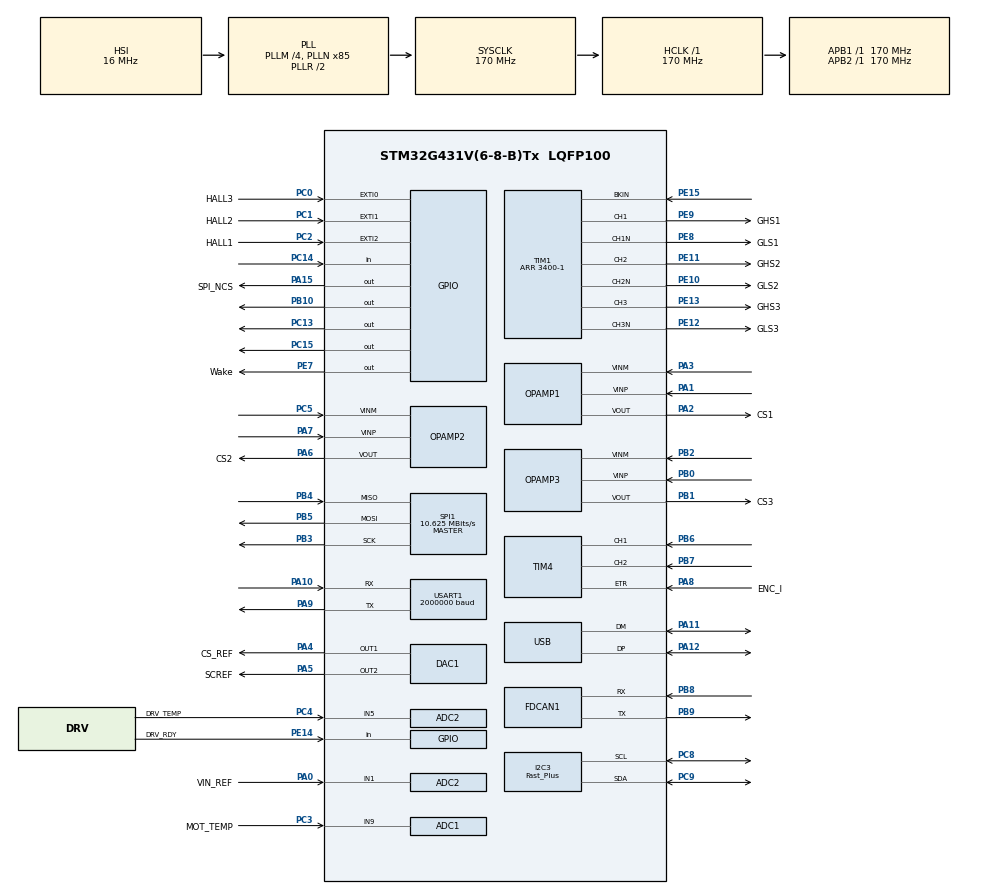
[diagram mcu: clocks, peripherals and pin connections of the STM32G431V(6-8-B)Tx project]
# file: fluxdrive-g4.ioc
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ADC1.Channel-0\#ChannelRegularConversion=ADC_CHANNEL_3
ADC1.EnableInjectedConversion=ENABLE
ADC1.ExternalTrigInjecConv=ADC_EXTERNALTRIGINJEC_T1_CC4
ADC1.ExternalTrigInjecConvEdge=ADC_EXTERNALTRIGINJECCONV_EDGE_FALLING
ADC1.InjNumberOfConversion=2
ADC1.InjectedChannel-1\#ChannelInjectedConversion=ADC_CHANNEL_3
ADC1.InjectedChannel-2\#ChannelInjectedConversion=ADC_CHANNEL_12
ADC1.InjectedOffsetNumber-1\#ChannelInjectedConversion=ADC_OFFSET_NONE
ADC1.InjectedOffsetNumber-2\#ChannelInjectedConversion=ADC_OFFSET_NONE
ADC1.InjectedRank-1\#ChannelInjectedConversion=1
ADC1.InjectedRank-2\#ChannelInjectedConversion=2
ADC1.InjectedSamplingTime-1\#ChannelInjectedConversion=ADC_SAMPLETIME_12CYCLES_5
ADC1.InjectedSamplingTime-2\#ChannelInjectedConversion=ADC_SAMPLETIME_12CYCLES_5
ADC1.NbrOfConversionFlag=1
ADC1.OffsetNumber-0\#ChannelRegularConversion=ADC_OFFSET_NONE
ADC1.Overrun=ADC_OVR_DATA_OVERWRITTEN
ADC1.Rank-0\#ChannelRegularConversion=1
ADC1.Rank1_Channel=ADC_CHANNEL_3
ADC1.Rank2_Channel=ADC_CHANNEL_12
ADC1.SamplingTime-0\#ChannelRegularConversion=ADC_SAMPLETIME_2CYCLES_5
ADC1.master=1
ADC2.Channel-0\#ChannelRegularConversion=ADC_CHANNEL_5
ADC2.EnableInjectedConversion=ENABLE
ADC2.ExternalTrigInjecConv=ADC_EXTERNALTRIGINJEC_T1_CC4
ADC2.ExternalTrigInjecConvEdge=ADC_EXTERNALTRIGINJECCONV_EDGE_FALLING
ADC2.InjNumberOfConversion=2
ADC2.InjectedChannel-1\#ChannelInjectedConversion=ADC_CHANNEL_3
ADC2.InjectedChannel-2\#ChannelInjectedConversion=ADC_CHANNEL_1
ADC2.InjectedOffsetNumber-1\#ChannelInjectedConversion=ADC_OFFSET_NONE
ADC2.InjectedOffsetNumber-2\#ChannelInjectedConversion=ADC_OFFSET_NONE
ADC2.InjectedRank-1\#ChannelInjectedConversion=1
ADC2.InjectedRank-2\#ChannelInjectedConversion=2
ADC2.InjectedSamplingTime-1\#ChannelInjectedConversion=ADC_SAMPLETIME_12CYCLES_5
ADC2.InjectedSamplingTime-2\#ChannelInjectedConversion=ADC_SAMPLETIME_12CYCLES_5
ADC2.NbrOfConversionFlag=1
ADC2.OffsetNumber-0\#ChannelRegularConversion=ADC_OFFSET_NONE
ADC2.Overrun=ADC_OVR_DATA_OVERWRITTEN
ADC2.Rank-0\#ChannelRegularConversion=1
ADC2.Rank2_Channel=ADC_CHANNEL_1
ADC2.SamplingTime-0\#ChannelRegularConversion=ADC_SAMPLETIME_2CYCLES_5
DAC1.DAC_Channel-DAC_OUT2=DAC_CHANNEL_2
DAC1.DAC_HighFrequency_OUT1-DAC_OUT1=DAC_HIGH_FREQUENCY_INTERFACE_MODE_DISABLE
DAC1.DAC_HighFrequency_OUT2-DAC_OUT2=DAC_HIGH_FREQUENCY_INTERFACE_MODE_DISABLE
Dma.Request0=SPI1_RX
Dma.Request1=SPI1_TX
Dma.Request2=USART1_TX
Dma.SPI1_RX.0.Direction=DMA_PERIPH_TO_MEMORY
Dma.SPI1_RX.0.EventEnable=DISABLE
Dma.SPI1_RX.0.Instance=DMA1_Channel1
Dma.SPI1_RX.0.MemDataAlignment=DMA_MDATAALIGN_BYTE
Dma.SPI1_RX.0.MemInc=DMA_MINC_ENABLE
Dma.SPI1_RX.0.Mode=DMA_NORMAL
Dma.SPI1_RX.0.PeriphDataAlignment=DMA_PDATAALIGN_BYTE
Dma.SPI1_RX.0.PeriphInc=DMA_PINC_DISABLE
Dma.SPI1_RX.0.Polarity=HAL_DMAMUX_REQ_GEN_RISING
Dma.SPI1_RX.0.Priority=DMA_PRIORITY_LOW
Dma.SPI1_RX.0.RequestNumber=1
Dma.SPI1_RX.0.SignalID=NONE
Dma.SPI1_RX.0.SyncEnable=DISABLE
Dma.SPI1_RX.0.SyncPolarity=HAL_DMAMUX_SYNC_NO_EVENT
Dma.SPI1_RX.0.SyncRequestNumber=1
Dma.SPI1_RX.0.SyncSignalID=NONE
Dma.SPI1_TX.1.Direction=DMA_MEMORY_TO_PERIPH
Dma.SPI1_TX.1.EventEnable=DISABLE
Dma.SPI1_TX.1.Instance=DMA1_Channel2
Dma.SPI1_TX.1.MemDataAlignment=DMA_MDATAALIGN_BYTE
Dma.SPI1_TX.1.MemInc=DMA_MINC_ENABLE
Dma.SPI1_TX.1.Mode=DMA_NORMAL
Dma.SPI1_TX.1.PeriphDataAlignment=DMA_PDATAALIGN_BYTE
Dma.SPI1_TX.1.PeriphInc=DMA_PINC_DISABLE
Dma.SPI1_TX.1.Polarity=HAL_DMAMUX_REQ_GEN_RISING
Dma.SPI1_TX.1.Priority=DMA_PRIORITY_LOW
Dma.SPI1_TX.1.RequestNumber=1
Dma.SPI1_TX.1.SignalID=NONE
Dma.SPI1_TX.1.SyncEnable=DISABLE
Dma.SPI1_TX.1.SyncPolarity=HAL_DMAMUX_SYNC_NO_EVENT
Dma.SPI1_TX.1.SyncRequestNumber=1
Dma.SPI1_TX.1.SyncSignalID=NONE
Dma.USART1_TX.2.Direction=DMA_MEMORY_TO_PERIPH
Dma.USART1_TX.2.EventEnable=DISABLE
Dma.USART1_TX.2.Instance=DMA1_Channel3
Dma.USART1_TX.2.MemDataAlignment=DMA_MDATAALIGN_BYTE
Dma.USART1_TX.2.MemInc=DMA_MINC_ENABLE
Dma.USART1_TX.2.Mode=DMA_NORMAL
Dma.USART1_TX.2.PeriphDataAlignment=DMA_PDATAALIGN_BYTE
Dma.USART1_TX.2.PeriphInc=DMA_PINC_DISABLE
Dma.USART1_TX.2.Polarity=HAL_DMAMUX_REQ_GEN_RISING
Dma.USART1_TX.2.Priority=DMA_PRIORITY_LOW
Dma.USART1_TX.2.RequestNumber=1
Dma.USART1_TX.2.SignalID=NONE
Dma.USART1_TX.2.SyncEnable=DISABLE
Dma.USART1_TX.2.SyncPolarity=HAL_DMAMUX_SYNC_NO_EVENT
Dma.USART1_TX.2.SyncRequestNumber=1
Dma.USART1_TX.2.SyncSignalID=NONE
FDCAN1.AutoRetransmission=ENABLE
FDCAN1.CalculateBaudRateNominal=1000000
FDCAN1.CalculateTimeBitNominal=1000
FDCAN1.CalculateTimeQuantumNominal=58.8235294117647
FDCAN1.NominalPrescaler=10
FDCAN1.NominalSyncJumpWidth=3
FDCAN1.NominalTimeSeg1=13
FDCAN1.NominalTimeSeg2=3
I2C3.I2C_Speed_Mode=I2C_Fast_Plus
I2C3.Timing=0x4052060F
Mcu.Family=STM32G4
Mcu.Name=STM32G431V(6-8-B)Tx
Mcu.Package=LQFP100
NVIC.ADC1_2_IRQn=true\:0\:0\:false\:false\:true\:true\:true\:true
NVIC.DMA1_Channel1_IRQn=true\:0\:0\:false\:false\:true\:false\:true\:true
NVIC.DMA1_Channel2_IRQn=true\:0\:0\:false\:false\:true\:false\:true\:true
NVIC.DMA1_Channel3_IRQn=true\:0\:0\:false\:false\:true\:false\:true\:true
NVIC.EXTI0_IRQn=true\:0\:0\:false\:false\:true\:true\:true\:true
NVIC.EXTI1_IRQn=true\:0\:0\:false\:false\:true\:true\:true\:true
NVIC.EXTI2_IRQn=true\:0\:0\:false\:false\:true\:true\:true\:true
NVIC.PriorityGroup=NVIC_PRIORITYGROUP_4
NVIC.SPI1_IRQn=true\:0\:0\:false\:false\:true\:true\:true\:true
NVIC.TIM1_BRK_TIM15_IRQn=true\:0\:0\:false\:false\:true\:true\:true\:true
NVIC.USART1_IRQn=true\:0\:0\:false\:false\:true\:true\:true\:true
NVIC.USB_LP_IRQn=true\:1\:0\:false\:false\:true\:false\:true\:true
PA0.GPIO_Label=VIN_REF
PA0.Mode=IN1-Single-Ended
PA0.Signal=ADC2_IN1
PA1.Mode=Standalone
PA1.Signal=OPAMP1_VINP
PA10.Mode=Asynchronous
PA10.Signal=USART1_RX
PA11.Mode=Device
PA11.Signal=USB_DM
PA12.Mode=Device
PA12.Signal=USB_DP
PA13.Mode=Serial_Wire
PA13.Signal=SYS_JTMS-SWDIO
PA14.Mode=Serial_Wire
PA14.Signal=SYS_JTCK-SWCLK
PA15.GPIO_Label=SPI_NCS
PA15.Signal=GPIO_Output
PA2.GPIO_Label=CS1
PA2.Signal=SharedAnalog_PA2
PA3.Mode=Standalone
PA3.Signal=OPAMP1_VINM
PA4.GPIO_Label=CS_REF
PA4.Signal=COMP_DAC11_group
PA5.GPIO_Label=SCREF
PA5.Signal=COMP_DAC12_group
PA6.GPIO_Label=CS2
PA6.Signal=SharedAnalog_PA6
PA7.Mode=Standalone
PA7.Signal=OPAMP2_VINP
PA8.GPIO_Label=ENC_I
PA8.Signal=S_TIM4_ETR
PA9.Mode=Asynchronous
PA9.Signal=USART1_TX
PB0.Mode=Standalone
PB0.Signal=OPAMP3_VINP
PB1.GPIO_Label=CS3
PB1.Signal=SharedAnalog_PB1
PB10.Signal=GPIO_Output
PB2.Mode=Standalone
PB2.Signal=OPAMP3_VINM
PB3.Mode=Full_Duplex_Master
PB3.Signal=SPI1_SCK
PB4.Mode=Full_Duplex_Master
PB4.Signal=SPI1_MISO
PB5.Mode=Full_Duplex_Master
PB5.Signal=SPI1_MOSI
PB6.Signal=S_TIM4_CH1
PB7.Signal=S_TIM4_CH2
PB8-BOOT0.Mode=FDCAN_Activate
PB8-BOOT0.Signal=FDCAN1_RX
PB9.Mode=FDCAN_Activate
PB9.Signal=FDCAN1_TX
PC0.GPIO_Label=HALL3
PC0.Signal=GPXTI0
PC1.GPIO_Label=HALL2
PC1.Signal=GPXTI1
PC13.Signal=GPIO_Output
PC14-OSC32_IN.Signal=GPIO_Input
PC15-OSC32_OUT.Signal=GPIO_Output
PC2.GPIO_Label=HALL1
PC2.Signal=GPXTI2
PC3.GPIO_Label=MOT_TEMP
PC3.Mode=IN9-Single-Ended
PC3.Signal=ADC1_IN9
PC4.GPIO_Label=DRV_TEMP
PC4.Mode=IN5-Single-Ended
PC4.Signal=ADC2_IN5
PC5.Mode=Standalone
PC5.Signal=OPAMP2_VINM
PC8.Mode=I2C
PC8.Signal=I2C3_SCL
PC9.Mode=I2C
PC9.Signal=I2C3_SDA
PE10.GPIO_Label=GLS2
PE10.Mode=PWM Generation2 CH2 CH2N
PE10.Signal=TIM1_CH2N
PE11.GPIO_Label=GHS2
PE11.Signal=S_TIM1_CH2
PE12.GPIO_Label=GLS3
PE12.Mode=PWM Generation3 CH3 CH3N
PE12.Signal=TIM1_CH3N
PE13.GPIO_Label=GHS3
PE13.Signal=S_TIM1_CH3
PE14.GPIO_Label=DRV_RDY
PE14.GPIO_PuPd=GPIO_PULLUP
PE14.Signal=GPIO_Input
PE15.Mode=Activate-Break-Input
PE15.Signal=TIM1_BKIN
PE7.GPIO_Label=Wake
PE7.Signal=GPIO_Output
PE8.GPIO_Label=GLS1
PE8.Mode=PWM Generation1 CH1 CH1N
PE8.Signal=TIM1_CH1N
PE9.GPIO_Label=GHS1
PE9.Signal=S_TIM1_CH1
ProjectManager.HeapSize=0x800
ProjectManager.StackSize=0x1000
ProjectManager.TargetToolchain=Makefile
RCC.ADC12Freq_Value=170000000
RCC.AHBFreq_Value=170000000
RCC.APB1Freq_Value=170000000
RCC.APB1TimFreq_Value=170000000
RCC.APB2Freq_Value=170000000
RCC.APB2TimFreq_Value=170000000
RCC.CK48CLockSelection=RCC_USBCLKSOURCE_HSI48
RCC.CortexFreq_Value=170000000
RCC.EXTERNAL_CLOCK_VALUE=12288000
RCC.HCLKFreq_Value=170000000
RCC.HSE_VALUE=8000000
RCC.HSI48_VALUE=48000000
RCC.HSI_VALUE=16000000
RCC.LSE_VALUE=32768
RCC.PLLM=RCC_PLLM_DIV4
RCC.PLLN=85
RCC.PLLQ=RCC_PLLQ_DIV8
RCC.SYSCLKFreq_VALUE=170000000
RCC.SYSCLKSource=RCC_SYSCLKSOURCE_PLLCLK
RCC.USBFreq_Value=48000000
RCC.VCOOutputFreq_Value=340000000
SH.COMP_DAC11_group.0=DAC1_OUT1,DAC_OUT1
SH.COMP_DAC12_group.0=DAC1_OUT2,DAC_OUT2
SH.S_TIM1_CH1.0=TIM1_CH1,PWM Generation1 CH1 CH1N
SH.S_TIM1_CH2.0=TIM1_CH2,PWM Generation2 CH2 CH2N
SH.S_TIM1_CH3.0=TIM1_CH3,PWM Generation3 CH3 CH3N
SH.S_TIM4_CH1.0=TIM4_CH1,Encoder_Interface_w_index
SH.S_TIM4_CH2.0=TIM4_CH2,Encoder_Interface_w_index
SH.S_TIM4_ETR.0=TIM4_ETR,Encoder_Interface_w_index
SH.SharedAnalog_PA2.0=OPAMP1_VOUT,Standalone
SH.SharedAnalog_PA2.1=ADC1_IN3,IN3-Single-Ended
SH.SharedAnalog_PA6.0=OPAMP2_VOUT,Standalone
SH.SharedAnalog_PA6.1=ADC2_IN3,IN3-Single-Ended
SH.SharedAnalog_PB1.0=OPAMP3_VOUT,Standalone
SH.SharedAnalog_PB1.1=ADC1_IN12,IN12-Single-Ended
SPI1.BaudRatePrescaler=SPI_BAUDRATEPRESCALER_16
SPI1.CLKPhase=SPI_PHASE_2EDGE
SPI1.CLKPolarity=SPI_POLARITY_HIGH
SPI1.CalculateBaudRate=10.625 MBits/s
SPI1.DataSize=SPI_DATASIZE_8BIT
SPI1.Direction=SPI_DIRECTION_2LINES
SPI1.Mode=SPI_MODE_MASTER
SPI1.VirtualType=VM_MASTER
TIM1.AutoReloadPreload=TIM_AUTORELOAD_PRELOAD_ENABLE
TIM1.AutomaticOutput=TIM_AUTOMATICOUTPUT_DISABLE
TIM1.Break2State=TIM_BREAK2_DISABLE
TIM1.BreakPolarity=TIM_BREAKPOLARITY_LOW
TIM1.Channel-PWM\ Generation1\ CH1\ CH1N=TIM_CHANNEL_1
TIM1.Channel-PWM\ Generation2\ CH2\ CH2N=TIM_CHANNEL_2
TIM1.Channel-PWM\ Generation3\ CH3\ CH3N=TIM_CHANNEL_3
TIM1.Channel-PWM\ Generation4\ No\ Output=TIM_CHANNEL_4
TIM1.CounterMode=TIM_COUNTERMODE_CENTERALIGNED1
TIM1.DeadTime=20
TIM1.DeadTimePreload=DISABLE
TIM1.OffStateIDLEMode=TIM_OSSI_ENABLE
TIM1.OffStateRunMode=TIM_OSSR_ENABLE
TIM1.PeriodNoDither=3400-1
TIM1.SourceBRKDigInput=TIM_BREAKINPUTSOURCE_DISABLE
TIM2.Prescaler=170-1
USART1.BaudRate=2000000
USART1.VirtualMode-Asynchronous=VM_ASYNC
USB_DEVICE.APP_RX_DATA_SIZE=64
USB_DEVICE.APP_TX_DATA_SIZE=64
USB_DEVICE.CLASS_NAME_FS=CDC
USB_DEVICE.VirtualMode=Cdc
USB_DEVICE.VirtualModeFS=Cdc_FS
VP_CORDIC_VS_CORDIC.Mode=CORDIC_Activate
VP_SYS_VS_DBSignals.Mode=DisableDeadBatterySignals
VP_TIM1_VS_ClockSourceINT.Mode=Internal
VP_TIM1_VS_no_output4.Mode=PWM Generation4 No Output
VP_TIM2_VS_ClockSourceINT.Mode=Internal
VP_USB_DEVICE_VS_USB_DEVICE_CDC_FS.Mode=CDC_FS
board=custom

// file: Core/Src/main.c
/* USER CODE BEGIN Header */
/**
 ******************************************************************************
 * @file           : main.c
 * @brief          : Main program body
 ******************************************************************************
 * @attention
 *
 * Copyright (c) 2026 STMicroelectronics.
 * All rights reserved.
 *
 * This software is licensed under terms that can be found in the LICENSE file
 * in the root directory of this software component.
 * If no LICENSE file comes with this software, it is provided AS-IS.
 *
 ******************************************************************************
 */
/* USER CODE END Header */
#include "main.h"
#include "adc.h"
#include "cordic.h"
#include "dac.h"
#include "dma.h"
#include "fdcan.h"
#include "i2c.h"
#include "opamp.h"
#include "spi.h"
#include "tim.h"
#include "usart.h"
#include "usb_device.h"
#include "gpio.h"

/* USER CODE BEGIN Includes */
#include "boot.h"
#include "mt6835.h"
#include "motorCtrl.h"
#include "calib.h"
#include "params.h"
#include "co_app.h"
/* USER CODE END Includes */

/* USER CODE BEGIN PV */

static uint8_t ready = 0;
static uint8_t nFaultDig = 0;
/* USER CODE END PV */

void SystemClock_Config(void);

int main(void) {
	/* USER CODE BEGIN 1 */
	boot_check(); /* MSG_REBOOT to DFU: jump to the ST bootloader before anything is set up */
	/* ISR path into CCM SRAM (.ccmram in the linker script), before anything can call into it */
	{
		extern uint32_t _sccmram, _eccmram, _siccmram;
		const uint32_t* src = &_siccmram;
		for (uint32_t* dst = &_sccmram; dst < &_eccmram;) *dst++ = *src++;
		__DSB();
		__ISB();
	}
	/* USER CODE END 1 */

	/* MCU Configuration--------------------------------------------------------*/

	/* Reset of all peripherals, Initializes the Flash interface and the Systick. */
	HAL_Init();

	/* Configure the system clock */
	SystemClock_Config();

	/* USER CODE BEGIN SysInit */
	/* flash runs at 4 wait states and the ISR path (~6 KB) does not fit the 1 KB instruction cache: without
	 * prefetch every miss stalls. PREFETCH_ENABLE is 0 in the generated hal_conf, so it is switched on here */
	__HAL_FLASH_PREFETCH_BUFFER_ENABLE();
	/* USER CODE END SysInit */

	/* Initialize all configured peripherals */
	MX_GPIO_Init();
	MX_DMA_Init();
	MX_ADC1_Init();
	MX_FDCAN1_Init();
	MX_I2C3_Init();
	MX_OPAMP1_Init();
	MX_OPAMP2_Init();
	MX_OPAMP3_Init();
	MX_TIM1_Init();
	MX_ADC2_Init();
	MX_DAC1_Init();
	MX_SPI1_Init();
	MX_TIM4_Init();
	MX_USART1_UART_Init();
	MX_CORDIC_Init();
	MX_TIM2_Init();
	MX_USB_Device_Init();
	/* USER CODE BEGIN 2 */
	HAL_TIM_Base_Start(&htim2);
	// set cs mid reference to vcc/2
	HAL_Delay(5);
	cmd_init();
	if (params_load()) { /* defaults: not calibrated yet */
	}
	pi_apply();
	initMotor();
	co_app_init(); /* CANopen on FDCAN1, 1 kHz tick on TIM7 */
	/* USER CODE END 2 */

	/* Infinite loop */
	/* USER CODE BEGIN WHILE */
	while (1) {
		cmd_poll();
		checkAndClearBridgeFault();
		ready = HAL_GPIO_ReadPin(DRV_RDY_GPIO_Port, DRV_RDY_Pin);
		nFaultDig = HAL_GPIO_ReadPin(GPIOE, GPIO_PIN_15);
		/* USER CODE END WHILE */

	}
}

void SystemClock_Config(void) {
	RCC_OscInitTypeDef RCC_OscInitStruct = {0};
	RCC_ClkInitTypeDef RCC_ClkInitStruct = {0};

	/** Configure the main internal regulator output voltage
	 */
	HAL_PWREx_ControlVoltageScaling(PWR_REGULATOR_VOLTAGE_SCALE1_BOOST);

	/** Initializes the RCC Oscillators according to the specified parameters
	 * in the RCC_OscInitTypeDef structure.
	 */
	RCC_OscInitStruct.OscillatorType = RCC_OSCILLATORTYPE_HSI | RCC_OSCILLATORTYPE_HSI48;
	RCC_OscInitStruct.HSIState = RCC_HSI_ON;
	RCC_OscInitStruct.HSICalibrationValue = RCC_HSICALIBRATION_DEFAULT;
	RCC_OscInitStruct.HSI48State = RCC_HSI48_ON;
	RCC_OscInitStruct.PLL.PLLState = RCC_PLL_ON;
	RCC_OscInitStruct.PLL.PLLSource = RCC_PLLSOURCE_HSI;
	RCC_OscInitStruct.PLL.PLLM = RCC_PLLM_DIV4;
	RCC_OscInitStruct.PLL.PLLN = 85;
	RCC_OscInitStruct.PLL.PLLP = RCC_PLLP_DIV2;
	RCC_OscInitStruct.PLL.PLLQ = RCC_PLLQ_DIV8;
	RCC_OscInitStruct.PLL.PLLR = RCC_PLLR_DIV2;
	if (HAL_RCC_OscConfig(&RCC_OscInitStruct) != HAL_OK) {
		Error_Handler();
	}

	/** Initializes the CPU, AHB and APB buses clocks
	 */
	RCC_ClkInitStruct.ClockType = RCC_CLOCKTYPE_HCLK | RCC_CLOCKTYPE_SYSCLK | RCC_CLOCKTYPE_PCLK1 | RCC_CLOCKTYPE_PCLK2;
	RCC_ClkInitStruct.SYSCLKSource = RCC_SYSCLKSOURCE_PLLCLK;
	RCC_ClkInitStruct.AHBCLKDivider = RCC_SYSCLK_DIV1;
	RCC_ClkInitStruct.APB1CLKDivider = RCC_HCLK_DIV1;
	RCC_ClkInitStruct.APB2CLKDivider = RCC_HCLK_DIV1;

	if (HAL_RCC_ClockConfig(&RCC_ClkInitStruct, FLASH_LATENCY_4) != HAL_OK) {
		Error_Handler();
	}
}

/* USER CODE BEGIN 4 */
/* MT6835 reads are triggered by TIM1 and collected in currentLoop() (see mt6835.c), no SPI callbacks */
/* USER CODE END 4 */

void Error_Handler(void) {
	__disable_irq();
	while (1) {
	}
}
